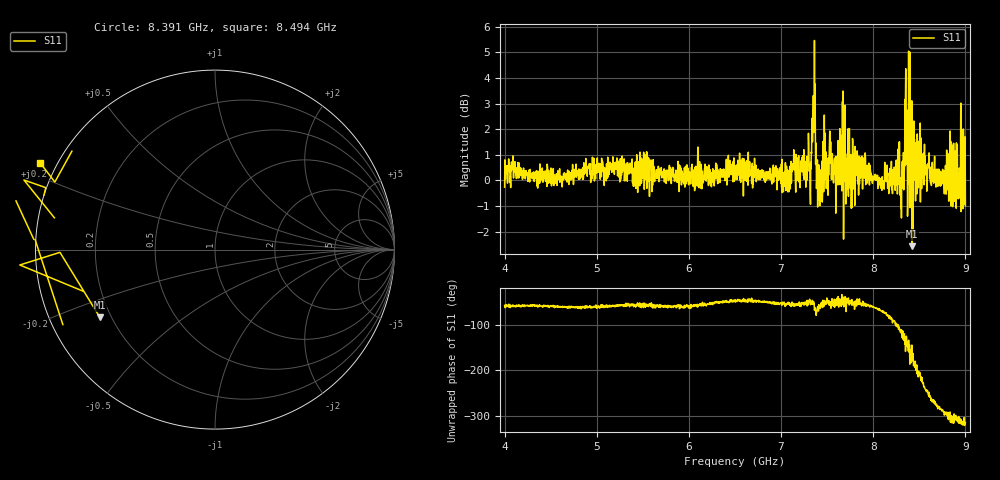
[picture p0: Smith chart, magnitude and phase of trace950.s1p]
! Created with skrf 1.8.0 (http://scikit-rf.org).
# Hz S RI R 50.0
!freq ReS11 ImS11
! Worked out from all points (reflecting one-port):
!   1601 points, 4 GHz to 9 GHz, reference 50 ohm
!   lowest |S11| = -2.6 dB at 8.422 GHz (marker M1), VSWR 6.82, Z = 7.86 - j13.3 ohm
!   phase of S11 starts at -57 deg and turns -259 deg over the sweep
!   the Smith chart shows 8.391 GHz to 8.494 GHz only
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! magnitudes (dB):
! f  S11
! 4 GHz  -0.3
! 4.094 GHz  0.4
! 4.625 GHz  -0.3
! 5.25 GHz  -0.1
! 5.875 GHz  0.1
! 6.5 GHz  0.5
! 7.038 GHz  0.0
! 7.125 GHz  0.5
! 7.294 GHz  0.6
! 7.356 GHz  3.2
! 7.397 GHz  -1.0
! 7.412 GHz  -0.1
! 7.538 GHz  1.5
! 7.591 GHz  0.9
! 7.65 GHz  1.1
! 7.75 GHz  0.2
! 8.312 GHz  0.7
! 8.334 GHz  0.2
! 8.375 GHz  -0.9
! 8.412 GHz  0.0
! 8.422 GHz  -2.6
! 8.447 GHz  1.6
! 8.459 GHz  -0.8
! 8.475 GHz  -0.5
! 8.497 GHz  0.9
! 8.747 GHz  -0.1
! 8.972 GHz  0.7
! 9 GHz  -1.0
